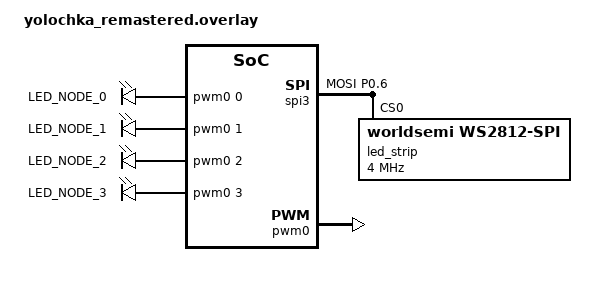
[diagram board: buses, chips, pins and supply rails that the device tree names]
#include "yolochka_remastered.dtsi"

&pinctrl {
    spi3_default: spi3_default {
        group1 {
            psels = <NRF_PSEL(SPIM_MOSI, 0, 6)>;
        };
    };

    spi3_sleep: spi3_sleep {
        group1 {
            psels = <NRF_PSEL(SPIM_MOSI, 0, 6)>;
            low-power-enable;
        };
    };
};

&spi3 {
    compatible = "nordic,nrf-spim";
    status = "okay";

    pinctrl-0 = <&spi3_default>;
    pinctrl-1 = <&spi3_sleep>;
    pinctrl-names = "default", "sleep";

    led_strip: ws2812@0 {
        compatible = "worldsemi,ws2812-spi";

        /* SPI */
        reg = <0>; /* ignored, but necessary for SPI bindings */
        spi-max-frequency = <4000000>;

        /* WS2812 */
        chain-length = <36>; /* number of LEDs */
        spi-one-frame = <0x70>;
        spi-zero-frame = <0x40>;
        color-mapping = <LED_COLOR_ID_GREEN
                         LED_COLOR_ID_RED
                         LED_COLOR_ID_BLUE>;
    };
};

/ {
    backlight: pwmleds {
        compatible = "pwm-leds";
        pwm_led_0: led_0 {
            pwms = <&pwm0 0 PWM_MSEC(10) PWM_POLARITY_NORMAL>;
            label = "LED_NODE_0";
        };
        pwm_led_1: led_1 {
            pwms = <&pwm0 1 PWM_MSEC(10) PWM_POLARITY_NORMAL>;
            label = "LED_NODE_1";
        };
        pwm_led_2: led_2 {
            label = "LED_NODE_2";
            pwms = <&pwm0 2 PWM_MSEC(10) PWM_POLARITY_NORMAL>;
        };
        pwm_led_3: led_3 {
            pwms = <&pwm0 3 PWM_MSEC(10) PWM_POLARITY_NORMAL>;
            label = "LED_NODE_3";
        };
    };
};

&pwm0 {
    status = "okay";
    pinctrl-0 = <&pwm0_default>;
    pinctrl-1 = <&pwm0_sleep>;
    pinctrl-names = "default", "sleep";
};

/ {
    chosen {
        zmk,underglow = &led_strip;
	zmk,backlight = &backlight;
    };
};
